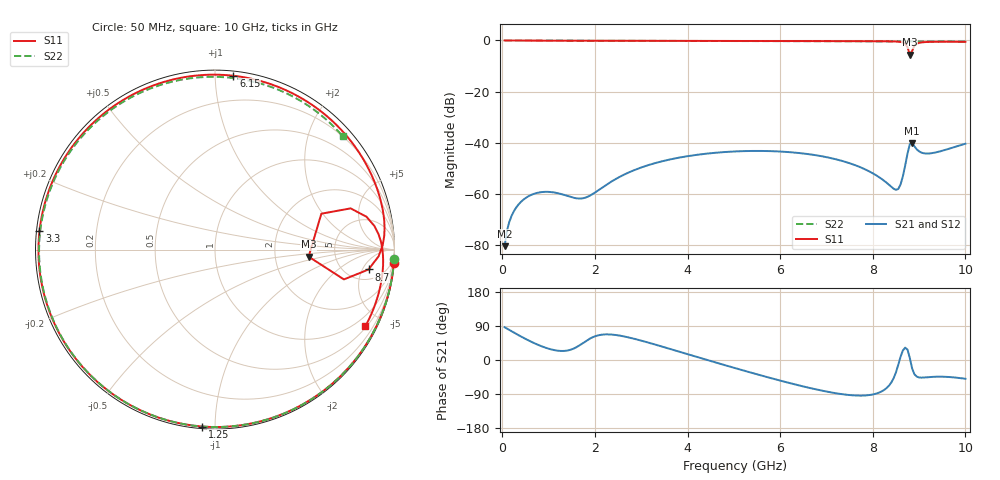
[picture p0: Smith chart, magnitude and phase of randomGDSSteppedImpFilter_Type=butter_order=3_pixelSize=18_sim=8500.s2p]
! freq	dB(S11)	phase(S11)	dB(S12)	phase(S12)
!  dB(S21)	phase(S21)	dB(S22)	phase(S22)
!S-par simulation data
#  GHz  S  DB  R 50
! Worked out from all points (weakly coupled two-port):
!   200 points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, 50 MHz to 10 GHz, reference 50 ohm
!   highest |S21| = -40.18 dB at 8.85 GHz (marker M1); lowest = -80.5 dB at 50 MHz (marker M2)
!   lowest |S11| = -5.6 dB at 8.8 GHz (marker M3), VSWR 3.19, Z = 158 - j17 ohm
!   |S11| at or under -10 dB: nowhere
!   |S22| runs from -0.4 to 0.0 dB; largest |S21 - S12| = 0
!   S11 on the Smith chart (normalised r, x): 50 MHz: 0, -27; 1.25 GHz: 0.01, -0.93; 3.3 GHz: 0.01, +0.05; 6.15 GHz: 0.03, +1.11; 8.7 GHz: 8, -7; 10 GHz: 0.56, -4.10
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0.05  -0.00 -4.3  -80.55 86.5  -80.55 86.5  -0.00 -2.9
0.2  -0.03 -16.9  -68.69 75.9  -68.69 75.9  -0.02 -11.6
0.4  -0.05 -33.3  -63.25 62.2  -63.25 62.2  -0.03 -23.0
0.8  -0.08 -64.0  -59.51 38.6  -59.51 38.6  -0.06 -45.0
1.25  -0.10 -94.1  -60.02 24.0  -60.02 24.0  -0.08 -68.0
1.75  -0.12 -122.1  -61.76 45.4  -61.76 45.4  -0.10 -91.0
2.5  -0.13 -156.1  -53.74 65.1  -53.74 65.1  -0.12 -120.4
3.3  -0.15 174.0  -48.03 40.8  -48.03 40.8  -0.14 -146.7
3.4  -0.15 170.6  -47.54 37.2  -47.54 37.2  -0.14 -149.7
5.05  -0.20 117.8  -43.44 -22.2  -43.44 -22.2  -0.19 165.9
6.15  -0.23 83.9  -43.66 -59.1  -43.66 -59.1  -0.24 139.0
6.7  -0.25 66.9  -44.74 -75.5  -44.74 -75.5  -0.27 125.7
7.65  -0.28 37.2  -49.04 -93.8  -49.04 -93.8  -0.31 102.3
8.35  -0.35 13.6  -56.50 -67.6  -56.50 -67.6  -0.34 84.6
8.55  -0.48 4.6  -58.16 -12.7  -58.16 -12.7  -0.35 79.5
8.7  -1.28 -7.4  -48.98 32.6  -48.98 32.6  -0.36 75.6
8.75  -2.65 -13.0  -44.32 27.5  -44.32 27.5  -0.36 74.4
8.8  -5.63 -4.3  -40.61 5.1  -40.61 5.1  -0.36 73.1
8.85  -4.08 18.6  -40.18 -22.6  -40.18 -22.6  -0.37 71.8
8.95  -1.27 12.3  -42.64 -43.8  -42.64 -43.8  -0.37 69.2
9.1  -0.67 2.7  -44.17 -46.3  -44.17 -46.3  -0.38 65.3
10  -0.53 -27.0  -40.43 -49.6  -40.43 -49.6  -0.43 41.7
